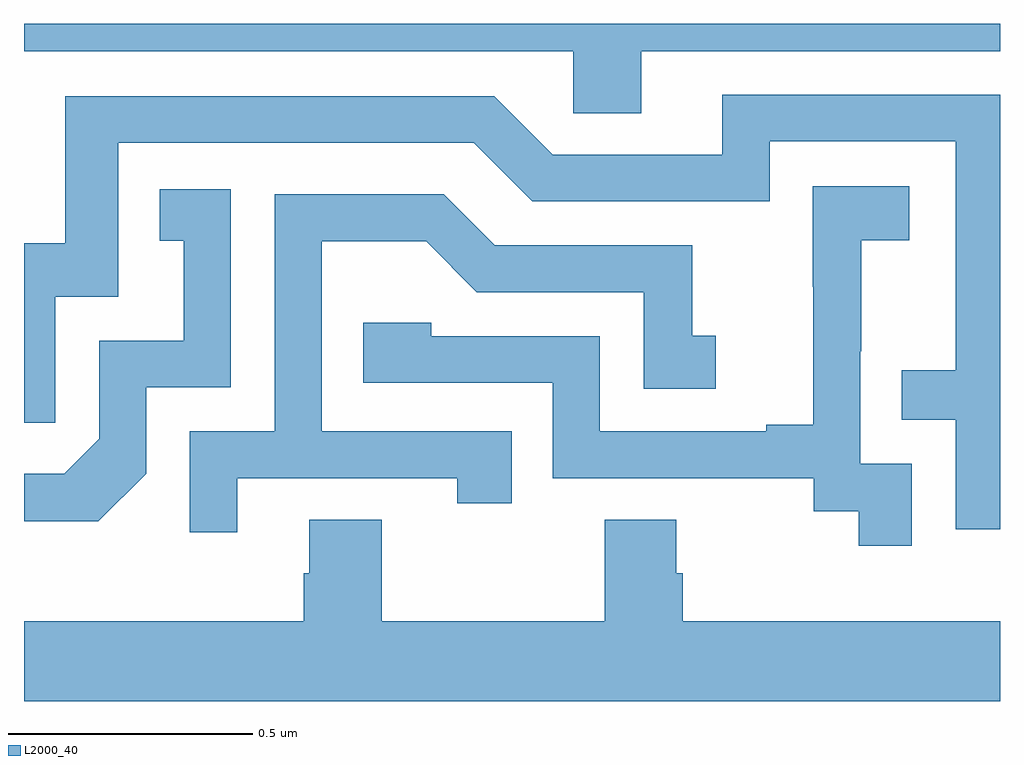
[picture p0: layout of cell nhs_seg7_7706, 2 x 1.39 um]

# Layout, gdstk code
import gdstk
lib = gdstk.Library(unit=1e-6, precision=1e-09)
def P(c, l, *ps):  # polygons
    for p in ps: c.add(gdstk.Polygon(p, *l))
L2000_40 = (2000, 40)

nhs_seg7_7706 = lib.new_cell('nhs_seg7_7706')
P(nhs_seg7_7706, L2000_40, [(216.265,1005.944),(217,1005.944),(217,1006),(215,1006),(215,1005.944),(216.126,1005.944),(216.126,1005.817),(216.265,1005.817)],
  [(217,1005.855),(216.431,1005.855),(216.431,1005.732),(216.084,1005.732),(215.964,1005.852),(215.085,1005.852),(215.085,1005.55),(215,1005.55),(215,1005.183),(215.064,1005.183),(215.064,1005.441),(215.193,1005.441),(215.193,1005.756),(215.922,1005.756),(216.042,1005.636),(216.528,1005.636),(216.528,1005.759),(216.909,1005.759),(216.909,1005.29),(216.799,1005.29),(216.799,1005.189),(216.909,1005.189),(216.909,1004.964),(217,1004.964)],
  [(216.819,1005.099),(216.714,1005.099),(216.714,1005.329),(216.716,1005.329),(216.716,1005.557),(216.814,1005.557),(216.814,1005.667),(216.616,1005.667),(216.616,1005.461),(216.617,1005.461),(216.617,1005.178),(216.521,1005.178),(216.521,1005.165),(216.18,1005.165),(216.18,1005.36),(215.835,1005.36),(215.835,1005.387),(215.695,1005.387),(215.695,1005.264),(216.084,1005.264),(216.084,1005.069),(216.618,1005.069),(216.618,1005.001),(216.711,1005.001),(216.711,1004.931),(216.819,1004.931)],
  [(215.25,1005.078),(215.25,1005.255),(215.424,1005.255),(215.424,1005.661),(215.278,1005.661),(215.278,1005.555),(215.327,1005.555),(215.327,1005.351),(215.154,1005.351),(215.154,1005.15),(215.082,1005.078),(215,1005.078),(215,1004.981),(215.152,1004.981)],
  [(215.437,1005.069),(215.888,1005.069),(215.888,1005.018),(215.999,1005.018),(215.999,1005.165),(215.61,1005.165),(215.61,1005.554),(215.824,1005.554),(215.928,1005.45),(216.27,1005.45),(216.27,1005.252),(216.418,1005.252),(216.418,1005.361),(216.369,1005.361),(216.369,1005.546),(215.965,1005.546),(215.86,1005.651),(215.514,1005.651),(215.514,1005.165),(215.34,1005.165),(215.34,1004.958),(215.437,1004.958)],
  [(217,1004.776),(216.35,1004.776),(216.35,1004.874),(216.337,1004.874),(216.337,1004.984),(216.19,1004.984),(216.19,1004.776),(215.733,1004.776),(215.733,1004.984),(215.585,1004.984),(215.585,1004.874),(215.573,1004.874),(215.573,1004.776),(215,1004.776),(215,1004.612),(217,1004.612)])

lib.write_gds('nhs_seg7_7706.gds')
